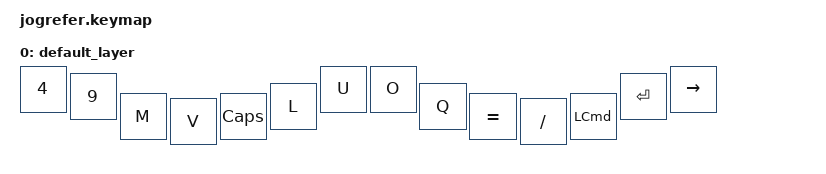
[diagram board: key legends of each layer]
#include <behaviors.dtsi>
#include <dt-bindings/zmk/keys.h>

/ {
	keymap {
		compatible = "zmk,keymap";
		default_layer {
			/* ╭────────────────────╮   ╭────────────────────╮
				│  ×  1  2  3  4  5	│   │  6  7  8  9  0  \  │
				│  ⭾  F  M  N  G  X	╰───╯  W  V  B  P  Y  -  │
				│  ⇪  D  T  R  S  L  Ç   m  U  A  E  O  I  +  │
				│  ´  Z  Q  H  C  K  [   <  Ñ  J  ,  .  /  ⇪  │
				│  m  ⌃  ⌥  ⌘  ␣  ←  ]   ⌘  ↩︎  ␣  ←  ↑  ↓  →  │
				╰─────────────────────────────────────────────╯ */
			bindings = <
				&kp ESC       &kp N1     &kp N2    &kp N3    &kp N4     &kp N5                               &kp N6     &kp N7     &kp N8     &kp N9    &kp N0     &kp NUBS
				&kp TAB       &kp F      &kp M     &kp N     &kp G      &kp X                                &kp W      &kp V      &kp B      &kp P     &kp Y      &kp MINUS
				&kp CAPSLOCK  &kp D      &kp T     &kp R     &kp S      &kp L          &kp TILDE  &none      &kp U      &kp A      &kp E      &kp O     &kp I      &kp PLUS
				&kp GRAVE     &kp Z      &kp Q     &kp H     &kp C      &kp K          &kp LBKT   &kp EQUAL  &kp N      &kp J      &kp COMMA  &kp DOT   &kp SLASH  &kp RSHIFT
				&kp GLOBE     &kp LCTRL  &kp LALT  &kp LCMD  &kp SPACE  &kp BACKSPACE  &kp RBKT   &kp RCMD   &kp ENTER  &kp SPACE  &kp LEFT   &kp UP    &kp DOWN   &kp RIGHT
			>;
		};
	};
};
